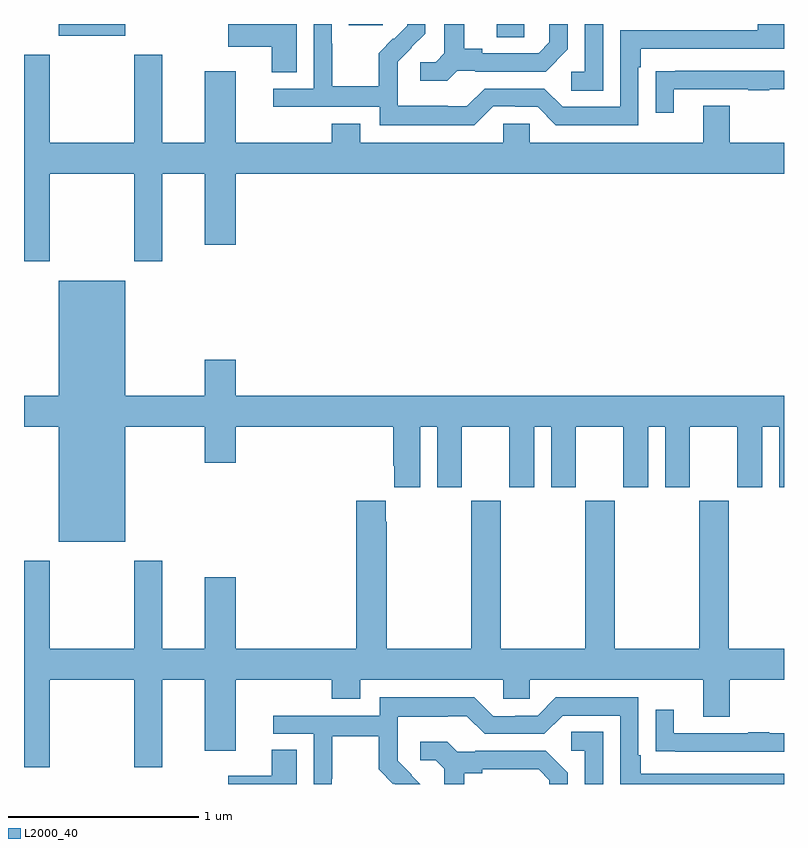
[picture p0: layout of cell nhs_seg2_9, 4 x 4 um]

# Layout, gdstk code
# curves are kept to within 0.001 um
import gdstk
lib = gdstk.Library(unit=1e-6, precision=1e-09)
def R(c, l, rs):  # rectangles x0, y0, x1, y1
    for r in rs: c.add(gdstk.rectangle(r[:2], r[2:], *l))
def P(c, l, *ps):  # polygons
    for p in ps: c.add(gdstk.Polygon(p, *l))
L2000_40 = (2000, 40)

nhs_seg2_9 = lib.new_cell('nhs_seg2_9')
R(nhs_seg2_9, L2000_40, [(113.489,605.731,113.634,605.8), (111.182,605.738,111.532,605.8), (112.709,605.793,112.888,605.8)])
P(nhs_seg2_9, L2000_40, [(113.469,605.367),(113.585,605.367),(113.585,605.364),(113.703,605.364),(113.799,605.268),(114.234,605.268),(114.234,605.573),(114.247,605.573),(114.247,605.67),(115,605.67),(115,605.8),(114.863,605.8),(114.863,605.766),(114.138,605.766),(114.138,605.364),(113.835,605.364),(113.739,605.46),(113.424,605.46),(113.331,605.367),(113.231,605.367),(113.231,605.371),(112.968,605.371),(112.968,605.505),(112.966,605.505),(112.966,605.602),(113.112,605.75),(113.112,605.8),(113.018,605.8),(113.018,605.792),(112.947,605.721),(112.944,605.724),(112.867,605.647),(112.867,605.473),(112.623,605.473),(112.623,605.696),(112.62,605.696),(112.62,605.8),(112.524,605.8),(112.524,605.46),(112.311,605.46),(112.311,605.364),(112.872,605.364),(112.872,605.267),(113.369,605.267)],
  [(114.048,605.8),(113.952,605.8),(113.952,605.55),(113.88,605.55),(113.88,605.449),(114.048,605.449)],
  [(113.28,605.553),(113.374,605.553),(113.374,605.55),(113.746,605.55),(113.862,605.666),(113.862,605.8),(113.765,605.8),(113.765,605.703),(113.708,605.646),(113.413,605.646),(113.413,605.669),(113.317,605.669),(113.317,605.8),(113.213,605.8),(113.213,605.645),(113.166,605.598),(113.085,605.598),(113.085,605.501),(113.228,605.501)],
  [(112.435,605.8),(112.074,605.8),(112.074,605.681),(112.304,605.681),(112.304,605.545),(112.435,605.545)],
  [(111.135,605.012),(111.58,605.012),(111.58,604.551),(111.727,604.551),(111.727,605.012),(111.95,605.012),(111.95,604.638),(112.114,604.638),(112.114,605.012),(115,605.012),(115,605.176),(114.715,605.176),(114.715,605.371),(114.575,605.371),(114.575,605.176),(113.661,605.176),(113.661,605.274),(113.523,605.274),(113.523,605.176),(112.771,605.176),(112.771,605.275),(112.619,605.275),(112.619,605.176),(112.114,605.176),(112.114,605.551),(111.95,605.551),(111.95,605.176),(111.727,605.176),(111.727,605.638),(111.58,605.638),(111.58,605.176),(111.135,605.176),(111.135,605.638),(111,605.638),(111,604.551),(111.135,604.551)],
  [(114.421,605.457),(114.811,605.457),(114.811,605.452),(114.923,605.452),(114.923,605.457),(115,605.457),(115,605.553),(114.427,605.553),(114.427,605.552),(114.325,605.552),(114.325,605.334),(114.421,605.334)],
  [(111.532,603.68),(111.95,603.68),(111.95,603.492),(112.114,603.492),(112.114,603.68),(112.943,603.68),(112.943,603.475),(112.949,603.475),(112.949,603.363),(113.086,603.363),(113.086,603.68),(113.174,603.68),(113.174,603.363),(113.305,603.363),(113.305,603.68),(113.555,603.68),(113.555,603.363),(113.686,603.363),(113.686,603.68),(113.774,603.68),(113.774,603.363),(113.905,603.363),(113.905,603.68),(114.155,603.68),(114.155,603.363),(114.286,603.363),(114.286,603.68),(114.374,603.68),(114.374,603.363),(114.505,603.363),(114.505,603.68),(114.755,603.68),(114.755,603.363),(114.886,603.363),(114.886,603.68),(114.974,603.68),(114.974,603.363),(115,603.363),(115,603.844),(112.114,603.844),(112.114,604.033),(111.95,604.033),(111.95,603.844),(111.532,603.844),(111.532,604.45),(111.182,604.45),(111.182,603.844),(111,603.844),(111,603.68),(111.182,603.68),(111.182,603.074),(111.532,603.074)],
  [(111.135,602.348),(111.58,602.348),(111.58,601.887),(111.727,601.887),(111.727,602.348),(111.95,602.348),(111.95,601.974),(112.114,601.974),(112.114,602.348),(112.619,602.348),(112.619,602.249),(112.771,602.249),(112.771,602.348),(113.523,602.348),(113.523,602.25),(113.661,602.25),(113.661,602.348),(114.575,602.348),(114.575,602.154),(114.715,602.154),(114.715,602.348),(115,602.348),(115,602.512),(114.708,602.512),(114.708,603.292),(114.553,603.292),(114.553,602.512),(114.108,602.512),(114.108,603.292),(113.953,603.292),(113.953,602.512),(113.508,602.512),(113.508,603.292),(113.353,603.292),(113.353,602.512),(112.908,602.512),(112.908,603.179),(112.903,603.179),(112.903,603.292),(112.748,603.292),(112.748,602.512),(112.114,602.512),(112.114,602.887),(111.95,602.887),(111.95,602.512),(111.727,602.512),(111.727,602.974),(111.58,602.974),(111.58,602.512),(111.135,602.512),(111.135,602.974),(111,602.974),(111,601.887),(111.135,601.887)],
  [(112.62,601.828),(112.623,601.828),(112.623,602.052),(112.867,602.052),(112.867,601.877),(112.944,601.8),(112.947,601.803),(112.95,601.8),(113.086,601.8),(112.966,601.922),(112.966,602.019),(112.968,602.019),(112.968,602.153),(113.231,602.153),(113.231,602.157),(113.331,602.157),(113.424,602.064),(113.739,602.064),(113.835,602.16),(114.138,602.16),(114.138,601.8),(115,601.8),(115,601.854),(114.247,601.854),(114.247,601.951),(114.234,601.951),(114.234,602.256),(113.799,602.256),(113.703,602.16),(113.585,602.16),(113.585,602.157),(113.469,602.157),(113.369,602.257),(112.872,602.257),(112.872,602.16),(112.311,602.16),(112.311,602.064),(112.524,602.064),(112.524,601.8),(112.62,601.8)],
  [(115,602.067),(114.923,602.067),(114.923,602.072),(114.811,602.072),(114.811,602.067),(114.421,602.067),(114.421,602.191),(114.325,602.191),(114.325,601.972),(114.427,601.972),(114.427,601.971),(115,601.971)],
  [(114.048,602.075),(113.88,602.075),(113.88,601.974),(113.952,601.974),(113.952,601.8),(114.048,601.8)],
  [(113.317,601.856),(113.413,601.856),(113.413,601.878),(113.708,601.878),(113.765,601.821),(113.765,601.8),(113.862,601.8),(113.862,601.858),(113.746,601.974),(113.374,601.974),(113.374,601.971),(113.28,601.971),(113.228,602.023),(113.085,602.023),(113.085,601.926),(113.166,601.926),(113.213,601.879),(113.213,601.8),(113.317,601.8)],
  [(112.435,601.979),(112.304,601.979),(112.304,601.843),(112.074,601.843),(112.074,601.8),(112.435,601.8)])

lib.write_gds('nhs_seg2_9.gds')
